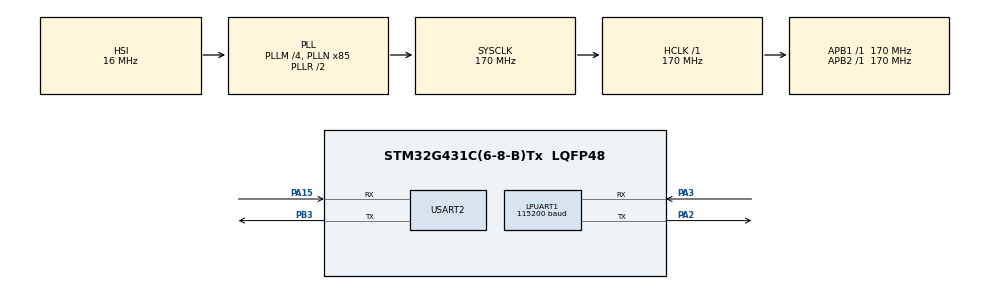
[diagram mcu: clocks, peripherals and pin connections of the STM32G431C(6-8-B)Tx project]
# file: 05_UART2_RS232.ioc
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LPUART1.BaudRate=115200
Mcu.Family=STM32G4
Mcu.Name=STM32G431C(6-8-B)Tx
Mcu.Package=LQFP48
NVIC.PriorityGroup=NVIC_PRIORITYGROUP_4
NVIC.USART2_IRQn=true\:0\:0\:false\:false\:true\:true\:true\:true
PA13.Mode=Serial_Wire
PA13.Signal=SYS_JTMS-SWDIO
PA14.Mode=Serial_Wire
PA14.Signal=SYS_JTCK-SWCLK
PA15.Mode=Asynchronous
PA15.Signal=USART2_RX
PA2.Mode=Asynchronous
PA2.Signal=LPUART1_TX
PA3.GPIO_PuPd=GPIO_PULLUP
PA3.Mode=Asynchronous
PA3.Signal=LPUART1_RX
PB3.Mode=Asynchronous
PB3.Signal=USART2_TX
PF0-OSC_IN.Mode=HSE-External-Oscillator
PF0-OSC_IN.Signal=RCC_OSC_IN
PF1-OSC_OUT.Mode=HSE-External-Oscillator
PF1-OSC_OUT.Signal=RCC_OSC_OUT
ProjectManager.HeapSize=0x200
ProjectManager.StackSize=0x400
ProjectManager.TargetToolchain=STM32CubeIDE
RCC.ADC12Freq_Value=170000000
RCC.AHBFreq_Value=170000000
RCC.APB1Freq_Value=170000000
RCC.APB1TimFreq_Value=170000000
RCC.APB2Freq_Value=170000000
RCC.APB2TimFreq_Value=170000000
RCC.CortexFreq_Value=170000000
RCC.EXTERNAL_CLOCK_VALUE=12288000
RCC.HCLKFreq_Value=170000000
RCC.HSE_VALUE=8000000
RCC.HSI48_VALUE=48000000
RCC.HSI_VALUE=16000000
RCC.LSE_VALUE=32768
RCC.PLLM=RCC_PLLM_DIV4
RCC.PLLN=85
RCC.SYSCLKFreq_VALUE=170000000
RCC.SYSCLKSource=RCC_SYSCLKSOURCE_PLLCLK
RCC.USBFreq_Value=170000000
RCC.VCOOutputFreq_Value=340000000
USART2.VirtualMode-Asynchronous=VM_ASYNC
VP_SYS_VS_DBSignals.Mode=DisableDeadBatterySignals
board=custom

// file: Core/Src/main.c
/* USER CODE BEGIN Header */
/**
  ******************************************************************************
  * @file           : main.c
  * @brief          : Main program body
  ******************************************************************************
  * @attention
  *
  * Copyright (c) 2024 STMicroelectronics.
  * All rights reserved.
  *
  * This software is licensed under terms that can be found in the LICENSE file
  * in the root directory of this software component.
  * If no LICENSE file comes with this software, it is provided AS-IS.
  *
  ******************************************************************************
  */
/* USER CODE END Header */
#include "main.h"

/* USER CODE BEGIN Includes */
#include <stdio.h>
/* USER CODE END Includes */

UART_HandleTypeDef hlpuart1;
UART_HandleTypeDef huart2;

void SystemClock_Config(void);
static void MX_GPIO_Init(void);
static void MX_LPUART1_UART_Init(void);
static void MX_USART2_UART_Init(void);

/* USER CODE BEGIN 0 */
int __io_putchar(int ch)
{
	if(HAL_UART_Transmit(&huart2, (uint8_t *)&ch, 1, 10) != HAL_OK)
	{
		return -1;
	}
	return ch;
}

uint8_t rxbuf;
void HAL_UART_RxCpltCallback(UART_HandleTypeDef *huart)
{
  if (huart->Instance == USART2)
  {
	  //to LPUART
	  HAL_UART_Transmit(&hlpuart1, (uint8_t *)&rxbuf, 1, 10);
	  HAL_UART_Receive_IT(huart, &rxbuf, 1);
  }
}
/* USER CODE END 0 */

int main(void)
{

  /* MCU Configuration--------------------------------------------------------*/

  /* Reset of all peripherals, Initializes the Flash interface and the Systick. */
  HAL_Init();

  /* Configure the system clock */
  SystemClock_Config();

  /* Initialize all configured peripherals */
  MX_GPIO_Init();
  MX_LPUART1_UART_Init();
  MX_USART2_UART_Init();

  /* USER CODE BEGIN 2 */
  uint8_t cnt=0;
  HAL_UART_Receive_IT(&huart2, &rxbuf, 1);
  printf("Hello RS232(PA15,PB3)\r\n");
  /* USER CODE END 2 */

  /* Infinite loop */
  /* USER CODE BEGIN WHILE */
  while (1)
  {
	  printf("counter %d\r\n", cnt++);
	  HAL_Delay(1000);
    /* USER CODE END WHILE */

  }
}

void SystemClock_Config(void)
{
  RCC_OscInitTypeDef RCC_OscInitStruct = {0};
  RCC_ClkInitTypeDef RCC_ClkInitStruct = {0};

  /** Configure the main internal regulator output voltage
  */
  HAL_PWREx_ControlVoltageScaling(PWR_REGULATOR_VOLTAGE_SCALE1_BOOST);

  /** Initializes the RCC Oscillators according to the specified parameters
  * in the RCC_OscInitTypeDef structure.
  */
  RCC_OscInitStruct.OscillatorType = RCC_OSCILLATORTYPE_HSI;
  RCC_OscInitStruct.HSIState = RCC_HSI_ON;
  RCC_OscInitStruct.HSICalibrationValue = RCC_HSICALIBRATION_DEFAULT;
  RCC_OscInitStruct.PLL.PLLState = RCC_PLL_ON;
  RCC_OscInitStruct.PLL.PLLSource = RCC_PLLSOURCE_HSI;
  RCC_OscInitStruct.PLL.PLLM = RCC_PLLM_DIV4;
  RCC_OscInitStruct.PLL.PLLN = 85;
  RCC_OscInitStruct.PLL.PLLP = RCC_PLLP_DIV2;
  RCC_OscInitStruct.PLL.PLLQ = RCC_PLLQ_DIV2;
  RCC_OscInitStruct.PLL.PLLR = RCC_PLLR_DIV2;
  if (HAL_RCC_OscConfig(&RCC_OscInitStruct) != HAL_OK)
  {
    Error_Handler();
  }

  /** Initializes the CPU, AHB and APB buses clocks
  */
  RCC_ClkInitStruct.ClockType = RCC_CLOCKTYPE_HCLK|RCC_CLOCKTYPE_SYSCLK
                              |RCC_CLOCKTYPE_PCLK1|RCC_CLOCKTYPE_PCLK2;
  RCC_ClkInitStruct.SYSCLKSource = RCC_SYSCLKSOURCE_PLLCLK;
  RCC_ClkInitStruct.AHBCLKDivider = RCC_SYSCLK_DIV1;
  RCC_ClkInitStruct.APB1CLKDivider = RCC_HCLK_DIV1;
  RCC_ClkInitStruct.APB2CLKDivider = RCC_HCLK_DIV1;

  if (HAL_RCC_ClockConfig(&RCC_ClkInitStruct, FLASH_LATENCY_4) != HAL_OK)
  {
    Error_Handler();
  }
}

static void MX_LPUART1_UART_Init(void)
{

  hlpuart1.Instance = LPUART1;
  hlpuart1.Init.BaudRate = 115200;
  hlpuart1.Init.WordLength = UART_WORDLENGTH_8B;
  hlpuart1.Init.StopBits = UART_STOPBITS_1;
  hlpuart1.Init.Parity = UART_PARITY_NONE;
  hlpuart1.Init.Mode = UART_MODE_TX_RX;
  hlpuart1.Init.HwFlowCtl = UART_HWCONTROL_NONE;
  hlpuart1.Init.OneBitSampling = UART_ONE_BIT_SAMPLE_DISABLE;
  hlpuart1.Init.ClockPrescaler = UART_PRESCALER_DIV1;
  hlpuart1.AdvancedInit.AdvFeatureInit = UART_ADVFEATURE_NO_INIT;
  if (HAL_UART_Init(&hlpuart1) != HAL_OK)
  {
    Error_Handler();
  }
  if (HAL_UARTEx_SetTxFifoThreshold(&hlpuart1, UART_TXFIFO_THRESHOLD_1_8) != HAL_OK)
  {
    Error_Handler();
  }
  if (HAL_UARTEx_SetRxFifoThreshold(&hlpuart1, UART_RXFIFO_THRESHOLD_1_8) != HAL_OK)
  {
    Error_Handler();
  }
  if (HAL_UARTEx_DisableFifoMode(&hlpuart1) != HAL_OK)
  {
    Error_Handler();
  }

}

static void MX_USART2_UART_Init(void)
{

  huart2.Instance = USART2;
  huart2.Init.BaudRate = 115200;
  huart2.Init.WordLength = UART_WORDLENGTH_8B;
  huart2.Init.StopBits = UART_STOPBITS_1;
  huart2.Init.Parity = UART_PARITY_NONE;
  huart2.Init.Mode = UART_MODE_TX_RX;
  huart2.Init.HwFlowCtl = UART_HWCONTROL_NONE;
  huart2.Init.OverSampling = UART_OVERSAMPLING_16;
  huart2.Init.OneBitSampling = UART_ONE_BIT_SAMPLE_DISABLE;
  huart2.Init.ClockPrescaler = UART_PRESCALER_DIV1;
  huart2.AdvancedInit.AdvFeatureInit = UART_ADVFEATURE_NO_INIT;
  if (HAL_UART_Init(&huart2) != HAL_OK)
  {
    Error_Handler();
  }
  if (HAL_UARTEx_SetTxFifoThreshold(&huart2, UART_TXFIFO_THRESHOLD_1_8) != HAL_OK)
  {
    Error_Handler();
  }
  if (HAL_UARTEx_SetRxFifoThreshold(&huart2, UART_RXFIFO_THRESHOLD_1_8) != HAL_OK)
  {
    Error_Handler();
  }
  if (HAL_UARTEx_DisableFifoMode(&huart2) != HAL_OK)
  {
    Error_Handler();
  }

}

static void MX_GPIO_Init(void)
{

  /* GPIO Ports Clock Enable */
  __HAL_RCC_GPIOF_CLK_ENABLE();
  __HAL_RCC_GPIOA_CLK_ENABLE();
  __HAL_RCC_GPIOB_CLK_ENABLE();

}

void Error_Handler(void)
{
  __disable_irq();
  while (1)
  {
  }
}
